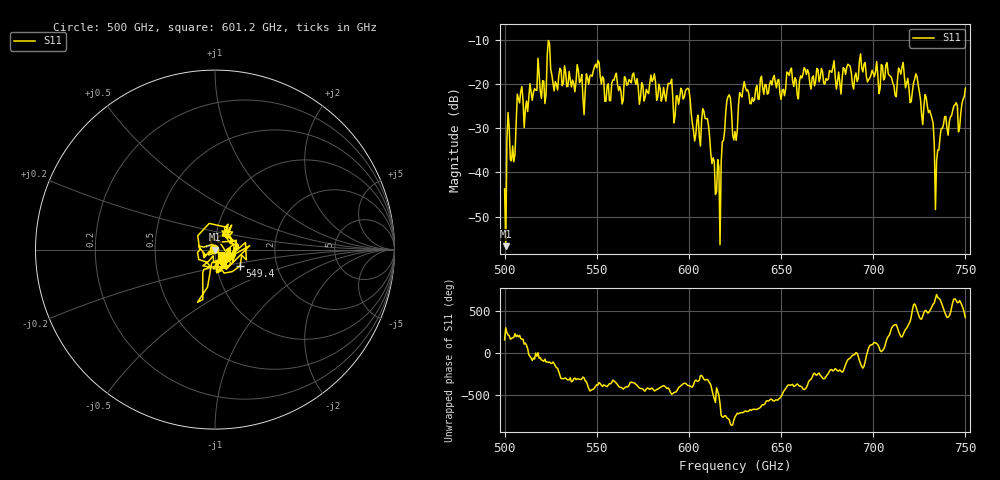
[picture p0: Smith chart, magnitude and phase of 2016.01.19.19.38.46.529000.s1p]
!Created with skrf (http://scikit-rf.org).
# GHz S RI R 50.0
!freq ReS11 ImS11
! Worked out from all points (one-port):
!   401 points, 500 GHz to 750 GHz, reference 50 ohm
!   lowest |S11| = -56.6 dB at 500.6 GHz (marker M1), VSWR 1.00, Z = 50.1 - j0.125 ohm
!   |S11| at or under -10 dB: start of sweep to end of sweep
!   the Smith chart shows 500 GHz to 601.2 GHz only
!   S11 on the Smith chart (normalised r, x): 500 GHz: 0.99, +0.00; 549.4 GHz: 1.30, -0.24; 601.2 GHz: 1.07, -0.06
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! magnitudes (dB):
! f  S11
! 500 GHz  -43.7
! 500.6 GHz  -56.6
! 502.5 GHz  -30.0
! 504.4 GHz  -34.0
! 508.1 GHz  -24.3
! 521.2 GHz  -19.4
! 524.4 GHz  -10.9
! 527.5 GHz  -19.5
! 531.2 GHz  -20.4
! 542.5 GHz  -23.2
! 549.4 GHz  -15.6
! 562.5 GHz  -20.6
! 580.6 GHz  -19.0
! 593.8 GHz  -22.7
! 599.4 GHz  -21.0
! 601.2 GHz  -26.6
! 609.4 GHz  -27.9
! 615.6 GHz  -37.1
! 621.2 GHz  -22.8
! 625 GHz  -30.7
! 628.8 GHz  -23.0
! 656.2 GHz  -19.4
! 687.5 GHz  -16.0
! 718.8 GHz  -18.8
! 729.4 GHz  -25.1
! 734.4 GHz  -37.3
! 738.1 GHz  -29.2
! 750 GHz  -21.0
